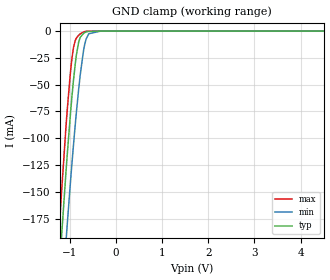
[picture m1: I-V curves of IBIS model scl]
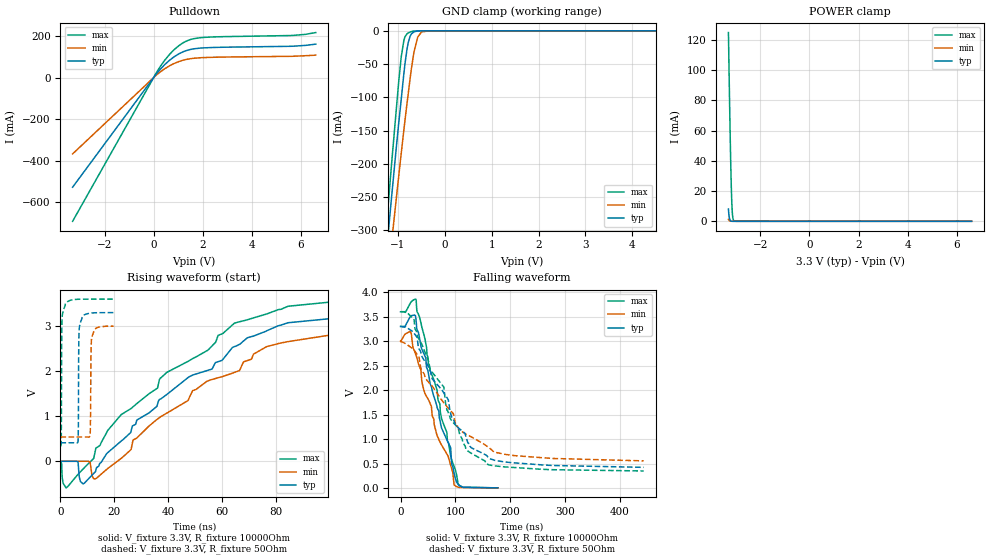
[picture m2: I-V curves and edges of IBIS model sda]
|Texas Instruments Incorporated
| 4-Channel Capacitance-to-Digital Converter for Capacitive Sensing Solutions
| Marketing part#   Digital Voltage Range   Package-type   #pins
| FDC1004DSCR   3.0V-3.6V   SON   10
| FDC1004DSCT   3.0V-3.6V   SON   10
| FDC1004DSCJ   3.0V-3.6V   SON   10
| FDC1004DGS   3.0V-3.6V   VSSOP   10
[IBIS Ver]   4.1
[File name]   fdc1004.ibs
[File Rev]   1.1
[Date]   3/23/2015
[Source]
| Texas Instruments Incorporated.
| Webench Design Center
| 12500 TI Blvd
| Dallas, TX -75243
[Notes]   Revision History:
| Rev 1.1: 3/23/2015
| - Add DGS component
| Rev 1.0: 8/01/2014
| - Initial version of the model
| - Model generated from simulations in SPECTRE
| - Model matched to SPICE simulation
| - C_comp although listed in numerical order of value are
|   obtained from varying PVT conditions. For PVT conditions for
|   each specific value refer the buffer description under
|   respective [Model]. IBIS model user is responsible for using
|   appropriate C_comp to simulate for Signal Integrity.
[Disclaimer]
| This model is designed as an aid for customers of Texas Instruments.
| TI and its licensors and suppliers make no warranties, either expressed
| or implied, with respect to this  model, including the warranties of
| merchantability or fitness for a particular purpose. The model is
| provided solely on an "as is" basis. The entire risk as to its quality
| and performance is with the customer.
[Copyright]
(C) Copyright 2015 Texas Instruments Incorporated.All rights reserved.
|   FDC1004
[Component]   FDC1004DSC
[Manufacturer]   TI
[Package]   |10 SON  -  DSC package
|   typ   min   max
R_pkg   0.045   0.045   0.045
L_pkg   1nH   1nH   1nH
C_pkg   1pF   1pF   1pF
[Pin]  signal_name   model_name   R_pin   L_pin   C_pin
1   SHLD1   nc   0.045   1nH   1pF
2   CIN1   nc   0.045   1nH   1pF
3   CIN2   nc   0.045   1nH   1pF
4   CIN3   nc   0.045   1nH   1pF
5   CIN4   nc   0.046   1nH   1pF
6   SHLD2   nc   0.045   1nH   1pF
7   GND   gnd   0.045   1nH   1pF
8   VDD   power   0.046   1nH   1pF
9   SCL   scl   0.045   1nH   1pF
10   SDA   sda   0.045   1nH   1pF
|   FDC1004DGS
[Component]   FDC1004DGS
[Manufacturer]   TI
[Package]   |10 VSSOP  -  DGS package
|   typ   min   max
R_pkg   0.0568   0.0567   0.0573
L_pkg   0.5056n   0.5005n   0.5092n
C_pkg   0.1205p   0.0925p   0.1394p
[Pin]  signal_name   model_name   R_pin   L_pin   C_pin
1   SHLD1   nc   0.05677   0.50173n   0.09250p
2   CIN1   nc   0.05672   0.50048n   0.13868p
3   CIN2   nc   0.05734   0.50896n   0.13939p
4   CIN3   nc   0.05678   0.50131n   0.13891p
5   CIN4   nc   0.05677   0.50173n   0.09251p
6   SHLD2   nc   0.05677   0.50919n   0.09276p
7   GND   gnd   0.05672   0.50795n   0.13902p
8   VDD   power   0.05670   0.50739n   0.13906p
9   SCL   scl   0.05672   0.50795n   0.13903p
10   SDA   sda   0.05677   0.50920n   0.09277p
| Models and submodels in the file (2): scl (Input), sda (I/O_open_drain)
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|   scl Model
[Model]   scl
Model_type   Input
Vinl = 0.99
Vinh = 2.31
|   typ   min   max
|   (nom PVT)   (fast PVT)   (slow PVT)
C_comp   3.739e-13   3.616e-13   3.937e-13
[Model spec]
|subparameter
Vinl   0.99   0.9   1.08
Vinh   2.31   2.1   2.52
| Where nom  PVT is Nominal Process, 3.3V, 27C
|   Fast PVT is Strong Process,  3.0V, -40C
|   Slow PVT is Weak Process,   3.6V, 125C
[Voltage Range]   3.3   3   3.6
|Junction Temperature
[Temperature Range]   27   125   -40
[Power Clamp Reference]   3.3   3   3.6
[GND Clamp Reference]   0   0   0
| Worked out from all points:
|   GND clamp passes 1 mA (typ) near -0.65 V on its own axis
[GND Clamp]
|   Voltage   I(typ)   I(min)   I(max)
-3.3V     -1.753A    -1.741A    -1.77A
-1.294V   -270.3mA   -330.7mA   -231.9mA
-1.175V   -190.9mA   -254.6mA   -149.5mA
-1.063V   -121.1mA   -186.2mA   -79.09mA
-948mV    -59.65mA   -121.9mA   -24.41mA
-880.8mV  -31.05mA   -87.98mA   -8.927mA
-805.2mV  -10.2mA    -54.11mA   -3.883mA
-700.8mV  -2.103mA   -18.35mA   -858.6uA
-645mV    -886.8uA   -7.489mA   -246.1uA
-588mV    -296.4uA   -2.519mA   -51.11uA
-330mV    -291.2nA   -11.05uA   0A
6.6V      0A         0A         0A
[POWER Clamp]
|   Voltage   I(typ)   I(min)   I(max)
-3.3V     0A         0A         0A
0V        0A         0A         0A
6.6V      0A         0A         0A
|   sda Model
[Model]   sda
Model_type   I/O_open_drain
Polarity   Non-Inverting
Vinl = 0.99
Vinh = 2.31
Vmeas = 1.65
Vref = 3.3
Cref = 400pF
Rref = 10000
|   typ   min   max
|   (nom PVT)   (fast PVT)   (slow PVT)
C_comp   1.247e-12   1.198e-12   1.310e-12
[model spec]
|subparameter
Vinl   0.99   0.9   1.08
Vinh   2.31   2.1   2.52
| Where nom  PVT is Nominal Process, 3.3V, 27C
|   Fast PVT is Strong Process,  3.0V, -40C
|   Slow PVT is Weak Process,   3.6V, 125C
[Voltage Range]   3.3   3   3.6
|Junction Temperature
[Temperature Range]   27   125   -40
[Pullup Reference]   3.3   3   3.6
[Pulldown Reference]   0   0   0
[Power Clamp Reference]   3.3   3   3.6
[GND Clamp Reference]   0   0   0
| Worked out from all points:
|   slope of the pulldown table from 0 to 0.495 V, typ, clamps not added: 7.35 ohm
|   GND clamp passes 1 mA (typ) near -0.62 V on its own axis
|   POWER clamp passes 1 mA (typ) near -3.24 V on its own axis
|   falling waveform, V_fixture 3.3V, R_fixture 10000Ohm: 20-80 % time 46ns typ, 50.6ns min, 43.1ns max; typ from 3.3 V to 0.003 V
|   rising waveform, V_fixture 3.3V, R_fixture 10000Ohm: 20-80 % time 41.2ns typ, 42.5ns min, 43ns max; typ from 0.002 V to 3.3 V
|   falling waveform, V_fixture 3.3V, R_fixture 50Ohm: 20-80 % time 82.8ns typ, 93.1ns min, 74ns max; typ from 3.3 V to 0.423 V
|   rising waveform, V_fixture 3.3V, R_fixture 50Ohm: 20-80 % time 173ps typ, 216ps min, 150ps max; typ from 0.413 V to 3.3 V
[Pulldown]
|   Voltage   I(typ)   I(min)   I(max)
-3.3V     -528.7mA   -368.2mA   -693.3mA
134.4mV   21.16mA    14.45mA    28.21mA
429mV     60.03mA    40.92mA    80.13mA
652.8mV   84.07mA    57.14mA    112.5mA
1.031V    114.6mA    77.41mA    154.2mA
1.442V    134.1mA    90.03mA    181.3mA
1.887V    142.1mA    95.55mA    192.2mA
5.562V    150.9mA    102.5mA    202.8mA
6.179V    155.2mA    105.5mA    208.5mA
6.6V      161.3mA    108.2mA    217.2mA
[GND Clamp]
|   Voltage   I(typ)   I(min)   I(max)
-3.3V     -1.742A    -1.681A    -1.81A
-1.486V   -518mA     -553.7mA   -502mA
-1.129V   -247.9mA   -316.4mA   -197.7mA
-1.033V   -176.9mA   -253.4mA   -119.8mA
-927mV    -103.8mA   -185mA     -39.86mA
-849mV    -51.56mA   -136.5mA   -9.703mA
-805.2mV  -28.67mA   -110.7mA   -4.766mA
-739.2mV  -8.572mA   -73.17mA   -1.88mA
-654mV    -1.452mA   -31.64mA   -343.5uA
-576mV    -275.2uA   -9.685mA   -39.45uA
-492mV    -34.96uA   -1.579mA   -2.473uA
6.6V      0A         0A         0A
[POWER Clamp]
|   Voltage   I(typ)   I(min)   I(max)
-3.3V     8.108mA    1.269mA    124.8mA
-3.282V   4.53mA     760.2uA    106.5mA
-3.267V   2.684mA    494uA      91.63mA
-3.237V   900.1uA    209.2uA    63.88mA
-3.221V   481.9uA    129.6uA    49.71mA
-3.196V   183.9uA    62.13uA    30.6mA
-3.174V   80uA       33uA       17.62mA
-3.156V   39.97uA    19.44uA    9.836mA
-3.134V   17.34uA    10.27uA    4.21mA
-3.113V   7.528uA    5.368uA    1.596mA
-3.062V   1.071uA    1.064uA    137.7uA
6.6V      0A         0A         0A
[Ramp]
R_load = 10000
|   typ   min   max
dV/dt_r   1.97683/4.08818e-08   1.79699/4.2862e-08   2.1576/4.25433e-08
dV/dt_f   1.97824/4.60422e-08   1.79904/5.06207e-08   2.15859/4.36243e-08
[Falling Waveform]
V_fixture = 3.3V
V_fixture_min = 3V
V_fixture_max = 3.6V
R_fixture = 10000Ohm
|   Time   V(typ)   V(min)   V(max)
0s        3.3V       3V         3.6V
18.22ns   3.51V      3.203V     3.784V
28.18ns   3.445V     2.715V     3.855V
53.93ns   2.13V      1.729V     2.396V
66.34ns   1.675V     1.082V     2.01V
91.38ns   824mV      467.8mV    653.5mV
93.86ns   464.2mV    371mV      559.3mV
97.69ns   304.8mV    64.23mV    442.2mV
104.8ns   74.83mV    18.03mV    92.25mV
177.4ns   3.077mV    3.932mV    2.403mV
[Rising Waveform]
V_fixture = 3.3V
V_fixture_min = 3V
V_fixture_max = 3.6V
R_fixture = 10000Ohm
|   Time   V(typ)   V(min)   V(max)
0s        2.051mV    2.724mV    1.683mV
2.1ns     2.051mV    2.724mV    -587.5mV
6.542ns   -22.27mV   2.724mV    -287.3mV
8.856ns   -484.2mV   2.724mV    -141.6mV
13.48ns   -134.4mV   -369.7mV   306mV
49.14ns   1.915V     1.571V     2.281V
64.66ns   2.547V     1.974V     3.068V
76.54ns   2.892V     2.544V     3.27V
110.6ns   3.25V      2.925V     3.561V
183.3ns   3.296V     2.997V     3.597V
[Falling Waveform]
V_fixture = 3.3V
V_fixture_min = 3V
V_fixture_max = 3.6V
R_fixture = 50Ohm
|   Time   V(typ)   V(min)   V(max)
0s        3.3V       3V         3.6V
24.93ns   3.159V     2.812V     3.435V
53.94ns   2.398V     2.126V     2.422V
78.96ns   1.944V     1.738V     2.062V
84.78ns   1.844V     1.66V      1.589V
93.2ns    1.448V     1.555V     1.378V
119.1ns   1.058V     1.102V     797.5mV
156.4ns   669mV      862.9mV    494.1mV
207ns     513.6mV    661.6mV    418.3mV
443.4ns   422.6mV    555.1mV    348.4mV
[Rising Waveform]
V_fixture = 3.3V
V_fixture_min = 3V
V_fixture_max = 3.6V
R_fixture = 50Ohm
|   Time   V(typ)   V(min)   V(max)
0s        413mV      540.5mV    341.1mV
276ps     413mV      540.5mV    381.8mV
577ps     413mV      540.5mV    3.158V
1.812ns   413mV      540.5mV    3.492V
6.547ns   446.4mV    540.5mV    3.597V
6.893ns   2.864V     540.5mV    3.598V
8.072ns   3.198V     540.5mV    3.599V
11.07ns   3.289V     633.4mV    3.6V
11.83ns   3.294V     2.785V     3.6V
19.74ns   3.3V       3V         3.6V
